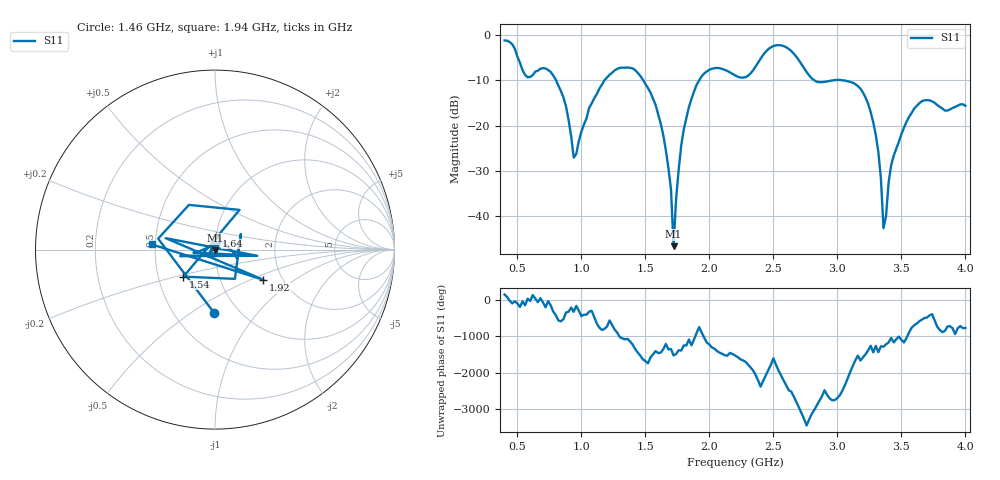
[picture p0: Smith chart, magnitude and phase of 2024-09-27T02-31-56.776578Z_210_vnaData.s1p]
!Created with skrf (http://scikit-rf.org).
# Hz S RI R 50.0
!freq ReS11 ImS11
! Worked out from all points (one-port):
!   181 points, 400 MHz to 4 GHz, reference 50 ohm
!   lowest |S11| = -46.7 dB at 1.72 GHz (marker M1), VSWR 1.01, Z = 50 - j0.463 ohm
!   |S11| at or under -10 dB: 802.6 MHz to 1.179 GHz (376.8 MHz wide, 38 % of centre); 1.484 GHz to 1.919 GHz (436 MHz wide, 25.6 % of centre); 3.042 GHz to end of sweep (the widest 3 of 4)
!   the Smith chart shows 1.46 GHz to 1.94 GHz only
!   S11 on the Smith chart (normalised r, x): 1.46 GHz: 0.77, -0.63; 1.54 GHz: 0.67, -0.21; 1.64 GHz: 1.00, +0.16; 1.92 GHz: 1.60, -0.60; 1.94 GHz: 0.48, +0.03
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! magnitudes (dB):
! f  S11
! 400 MHz  -1.2
! 560 MHz  -8.8
! 720 MHz  -7.4
! 860 MHz  -13.8
! 940 MHz  -27.1
! 1.06 GHz  -16.1
! 1.3 GHz  -7.2
! 1.46 GHz  -9.0
! 1.54 GHz  -12.7
! 1.64 GHz  -22.2
! 1.7 GHz  -34.1
! 1.72 GHz  -46.7
! 1.76 GHz  -29.8
! 1.82 GHz  -18.3
! 1.92 GHz  -10.0
! 1.94 GHz  -9.1
! 2.2 GHz  -8.9
! 2.5 GHz  -2.4
! 2.66 GHz  -4.1
! 2.84 GHz  -10.3
! 3.1 GHz  -10.3
! 3.28 GHz  -19.2
! 3.34 GHz  -31.7
! 3.36 GHz  -42.7
! 3.42 GHz  -28.8
! 3.56 GHz  -18.1
! 3.68 GHz  -14.4
! 4 GHz  -15.6
